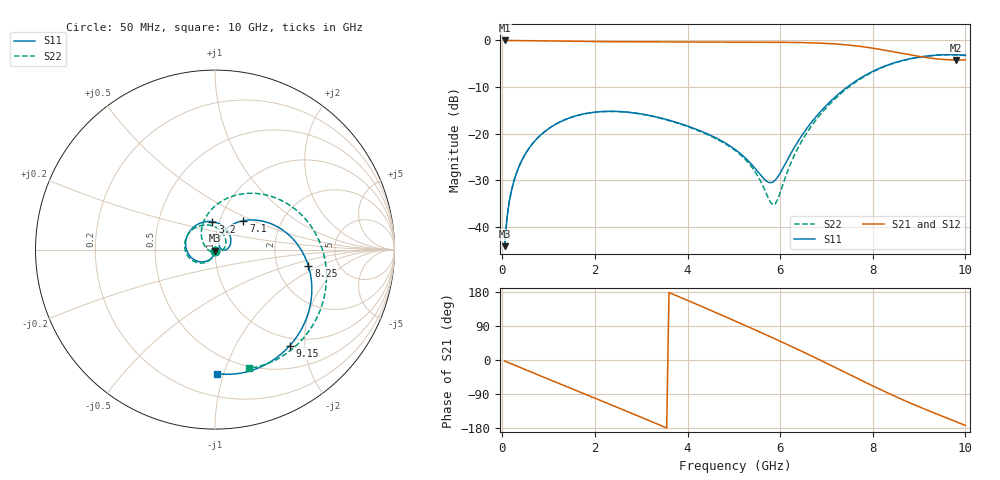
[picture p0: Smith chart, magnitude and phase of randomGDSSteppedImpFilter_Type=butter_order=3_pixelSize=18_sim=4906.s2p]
! freq	dB(S11)	phase(S11)	dB(S12)	phase(S12)
!  dB(S21)	phase(S21)	dB(S22)	phase(S22)
!S-par simulation data
#  GHz  S  DB  R 50
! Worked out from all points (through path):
!   200 points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, 50 MHz to 10 GHz, reference 50 ohm
!   highest |S21| = -0.01 dB at 50 MHz (marker M1); lowest = -4.2 dB at 9.8 GHz (marker M2)
!   group delay of S21, straight-line fit = 150 ps
!   lowest |S11| = -44.1 dB at 50 MHz (marker M3), VSWR 1.01, Z = 50 - j0.623 ohm
!   |S11| at or under -10 dB: start of sweep to 7.449 GHz
!   |S22| runs from -44.1 to -3.1 dB; largest |S21 - S12| = 0
!   S11 on the Smith chart (normalised r, x): 50 MHz: 1.00, -0.01; 3.2 GHz: 0.93, +0.30; 7.1 GHz: 1.29, +0.44; 8.25 GHz: 3.02, -0.76; 9.15 GHz: 0.86, -1.70; 10 GHz: 0.36, -0.95
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0.05  -44.10 -92.1  -0.01 -2.6  -0.01 -2.6  -44.10 -91.9
0.1  -38.09 -95.2  -0.02 -5.2  -0.02 -5.2  -38.08 -94.6
0.2  -32.09 -100.8  -0.03 -10.2  -0.03 -10.2  -32.09 -99.7
0.5  -24.31 -117.2  -0.05 -25.4  -0.05 -25.4  -24.30 -114.5
1.15  -17.98 -152.2  -0.14 -58.2  -0.14 -58.2  -17.98 -145.8
1.75  -15.78 175.5  -0.22 -88.2  -0.22 -88.2  -15.79 -174.0
2.45  -15.21 137.3  -0.28 -123.3  -0.28 -123.3  -15.23 153.9
3.2  -16.13 95.2  -0.31 -161.3  -0.31 -161.3  -16.18 119.8
3.4  -16.58 83.9  -0.31 -171.6  -0.31 -171.6  -16.65 110.6
4.15  -18.90 42.0  -0.33 149.5  -0.33 149.5  -19.03 75.0
5.05  -23.54 1.6  -0.35 101.7  -0.35 101.7  -23.76 24.1
5.45  -27.34 -2.0  -0.37 80.0  -0.37 80.0  -28.02 -8.6
5.85  -30.32 35.8  -0.39 58.0  -0.39 58.0  -35.27 -94.7
6.3  -23.04 67.5  -0.43 32.6  -0.43 32.6  -24.76 162.3
6.7  -17.25 60.5  -0.52 9.4  -0.52 9.4  -18.01 127.1
7.1  -12.93 45.5  -0.70 -14.3  -0.70 -14.3  -13.34 97.6
7.7  -8.29 17.5  -1.25 -50.5  -1.25 -50.5  -8.47 56.4
8.25  -5.55 -9.9  -2.08 -82.8  -2.08 -82.8  -5.63 21.0
8.35  -5.18 -14.8  -2.26 -88.5  -2.26 -88.5  -5.25 14.9
9.15  -3.37 -52.2  -3.65 -131.1  -3.65 -131.1  -3.39 -30.3
9.8  -3.07 -80.3  -4.21 -162.9  -4.21 -162.9  -3.09 -63.6
10  -3.21 -88.9  -4.15 -172.8  -4.15 -172.8  -3.24 -73.9
